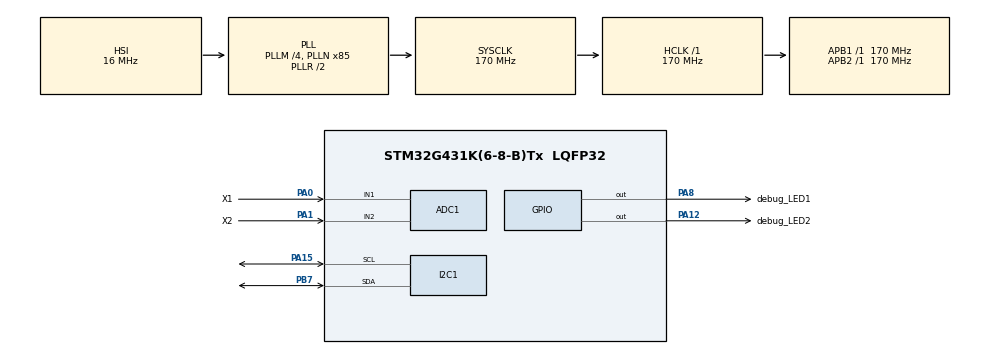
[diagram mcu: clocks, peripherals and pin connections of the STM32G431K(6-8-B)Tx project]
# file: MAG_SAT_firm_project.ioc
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ADC1.Channel-0\#ChannelRegularConversion=ADC_CHANNEL_1
ADC1.NbrOfConversionFlag=1
ADC1.OffsetNumber-0\#ChannelRegularConversion=ADC_OFFSET_NONE
ADC1.Rank-0\#ChannelRegularConversion=1
ADC1.SamplingTime-0\#ChannelRegularConversion=ADC_SAMPLETIME_2CYCLES_5
ADC1.SingleDiff-0\#ChannelRegularConversion=ADC_DIFFERENTIAL_ENDED
ADC1.master=1
I2C1.Timing=0x30A0A7FB
Mcu.Family=STM32G4
Mcu.Name=STM32G431K(6-8-B)Tx
Mcu.Package=LQFP32
NVIC.PriorityGroup=NVIC_PRIORITYGROUP_4
PA0.GPIO_Label=X1
PA0.Mode=IN1-Differential
PA0.Signal=ADC1_IN1
PA1.GPIO_Label=X2
PA1.Mode=IN1-Differential
PA1.Signal=ADC1_IN2
PA12.GPIO_Label=debug_LED2
PA12.Signal=GPIO_Output
PA13.Mode=Serial_Wire
PA13.Signal=SYS_JTMS-SWDIO
PA14.Mode=Serial_Wire
PA14.Signal=SYS_JTCK-SWCLK
PA15.Mode=I2C
PA15.Signal=I2C1_SCL
PA8.GPIO_Label=debug_LED1
PA8.Signal=GPIO_Output
PB3.Signal=SYS_JTDO-SWO
PB7.Mode=I2C
PB7.Signal=I2C1_SDA
ProjectManager.HeapSize=0x200
ProjectManager.StackSize=0x400
ProjectManager.TargetToolchain=STM32CubeIDE
RCC.ADC12Freq_Value=170000000
RCC.AHBFreq_Value=170000000
RCC.APB1Freq_Value=170000000
RCC.APB1TimFreq_Value=170000000
RCC.APB2Freq_Value=170000000
RCC.APB2TimFreq_Value=170000000
RCC.CortexFreq_Value=170000000
RCC.EXTERNAL_CLOCK_VALUE=12288000
RCC.HCLKFreq_Value=170000000
RCC.HSE_VALUE=8000000
RCC.HSI48_VALUE=48000000
RCC.HSI_VALUE=16000000
RCC.LSE_VALUE=32768
RCC.PLLM=RCC_PLLM_DIV4
RCC.PLLN=85
RCC.SYSCLKFreq_VALUE=170000000
RCC.SYSCLKSource=RCC_SYSCLKSOURCE_PLLCLK
RCC.USBFreq_Value=170000000
RCC.VCOOutputFreq_Value=340000000
VP_SYS_VS_DBSignals.Mode=DisableDeadBatterySignals
board=custom

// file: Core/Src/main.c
/* USER CODE BEGIN Header */
/**
  ******************************************************************************
  * @file           : main.c
  * @brief          : Main program body
  ******************************************************************************
  * @attention
  *
  * <h2><center>&copy; Copyright (c) 2026 STMicroelectronics.
  * All rights reserved.</center></h2>
  *
  * This software component is licensed by ST under BSD 3-Clause license,
  * the "License"; You may not use this file except in compliance with the
  * License. You may obtain a copy of the License at:
  *                        opensource.org/licenses/BSD-3-Clause
  *
  ******************************************************************************
  */
/* USER CODE END Header */
#include "main.h"

/* USER CODE BEGIN Includes */
#include <stdio.h>
#include <stdlib.h>

/* USER CODE END Includes */

ADC_HandleTypeDef hadc1;

I2C_HandleTypeDef hi2c1;

/* USER CODE BEGIN PV */

volatile uint32_t adc_value = 0;
volatile float voltage_difference = 0.0f;
volatile float current_amps = 0.0f;

const float V_REF = 3.3f;
uint8_t raw_current_bytes[2] = {0};
int16_t raw_current_value = 0;

/* USER CODE END PV */

void SystemClock_Config(void);
static void MX_GPIO_Init(void);
static void MX_ADC1_Init(void);
static void MX_I2C1_Init(void);

/* USER CODE BEGIN 0 */

// Redirect printf to the SWV/ITM hardware trace port
int __io_putchar(int ch)
{
    // This built-in CMSIS function automatically targets ITM Stimulus Port 0
    ITM_SendChar(ch);
    return ch;
}

/* USER CODE END 0 */

int main(void)
{

  /* USER CODE END 1 */

  /* MCU Configuration--------------------------------------------------------*/

  /* Reset of all peripherals, Initializes the Flash interface and the Systick. */
  HAL_Init();

  /* Configure the system clock */
  SystemClock_Config();

  /* Initialize all configured peripherals */
  MX_GPIO_Init();
  MX_ADC1_Init();
  MX_I2C1_Init();
  /* USER CODE BEGIN 2 */

  // Run automatic calibration for ADC1 in Differential Mode
   if (HAL_ADCEx_Calibration_Start(&hadc1, ADC_DIFFERENTIAL_ENDED) != HAL_OK)
   {
       /* Calibration Error Handling */
       Error_Handler();
   }

   //INA219 Programming calibration registers
 #define INA219_ADDR (0x40 << 1) //slave address
 #define REG_CAL  0x05
 #define REG_CURRENT   0x04

   uint8_t cal_data[2] = {0xA0, 0x00};
   HAL_I2C_Mem_Write(&hi2c1, INA219_ADDR, REG_CAL, I2C_MEMADD_SIZE_8BIT, cal_data, 2, 100);

   //Variables set up
//   uint32_t adc_value = 0;
//   float voltage_difference = 0.0f; //X1-X2(V)
//   const float V_REF = 3.3f; //Board reference voltage (3V3) (V)
//   float current_amps = 0.0f; //shunt current(A)
//   uint8_t raw_current_bytes[2] = {0};
//   int16_t raw_current_value = 0;

  /* USER CODE END 2 */

  /* Infinite loop */
  /* USER CODE BEGIN WHILE */
  while (1) //code doesn't wipe while in while loop
  {

	  //generates raw differitianal ADC values from TMR sensor
	  HAL_ADC_Start(&hadc1);

	      if (HAL_ADC_PollForConversion(&hadc1, 10) == HAL_OK) {
	          adc_value = HAL_ADC_GetValue(&hadc1);
	      }
	      HAL_ADC_Stop(&hadc1);

	      //Converting Raw ADC to Analog Voltage
	      voltage_difference =  ((float)adc_value - 2048.0f) / 2048.0f * V_REF;

	      //Using LED to determine polarity of the field

	      //  Read directly from the Current Register (0x04)
	      if (HAL_I2C_Mem_Read(&hi2c1, INA219_ADDR, REG_CURRENT, I2C_MEMADD_SIZE_8BIT, raw_current_bytes, 2, 100) == HAL_OK) {
	          raw_current_value = (int16_t)((raw_current_bytes[0] << 8) | raw_current_bytes[1]);

	          // Multiply by our chosen Current_LSB (0.0002f) to get real Amperes
	          current_amps = (float)raw_current_value * 0.0002f;
	      }

    // debugging LEDs testing code

//	  HAL_GPIO_TogglePin(GPIOA, GPIO_PIN_8); // Toggle Pin
//	  HAL_Delay(500); // Delay 500ms
//
//	  HAL_GPIO_TogglePin(GPIOA, GPIO_PIN_12); // Toggle Pin
//	  HAL_Delay(500); // Delay 500ms

	  /* Terminal Output via SWO Programmer */

//	      	HAL_Delay(10); // Delay 10ms
	    //  	printf("%d,%.4f,%.3f\r\n", HAL_GetTick(), voltage_difference, current_amps);

  }
}

void SystemClock_Config(void)
{
  RCC_OscInitTypeDef RCC_OscInitStruct = {0};
  RCC_ClkInitTypeDef RCC_ClkInitStruct = {0};
  RCC_PeriphCLKInitTypeDef PeriphClkInit = {0};

  /** Configure the main internal regulator output voltage
  */
  HAL_PWREx_ControlVoltageScaling(PWR_REGULATOR_VOLTAGE_SCALE1_BOOST);
  /** Initializes the RCC Oscillators according to the specified parameters
  * in the RCC_OscInitTypeDef structure.
  */
  RCC_OscInitStruct.OscillatorType = RCC_OSCILLATORTYPE_HSI;
  RCC_OscInitStruct.HSIState = RCC_HSI_ON;
  RCC_OscInitStruct.HSICalibrationValue = RCC_HSICALIBRATION_DEFAULT;
  RCC_OscInitStruct.PLL.PLLState = RCC_PLL_ON;
  RCC_OscInitStruct.PLL.PLLSource = RCC_PLLSOURCE_HSI;
  RCC_OscInitStruct.PLL.PLLM = RCC_PLLM_DIV4;
  RCC_OscInitStruct.PLL.PLLN = 85;
  RCC_OscInitStruct.PLL.PLLP = RCC_PLLP_DIV2;
  RCC_OscInitStruct.PLL.PLLQ = RCC_PLLQ_DIV2;
  RCC_OscInitStruct.PLL.PLLR = RCC_PLLR_DIV2;
  if (HAL_RCC_OscConfig(&RCC_OscInitStruct) != HAL_OK)
  {
    Error_Handler();
  }
  /** Initializes the CPU, AHB and APB buses clocks
  */
  RCC_ClkInitStruct.ClockType = RCC_CLOCKTYPE_HCLK|RCC_CLOCKTYPE_SYSCLK
                              |RCC_CLOCKTYPE_PCLK1|RCC_CLOCKTYPE_PCLK2;
  RCC_ClkInitStruct.SYSCLKSource = RCC_SYSCLKSOURCE_PLLCLK;
  RCC_ClkInitStruct.AHBCLKDivider = RCC_SYSCLK_DIV1;
  RCC_ClkInitStruct.APB1CLKDivider = RCC_HCLK_DIV1;
  RCC_ClkInitStruct.APB2CLKDivider = RCC_HCLK_DIV1;

  if (HAL_RCC_ClockConfig(&RCC_ClkInitStruct, FLASH_LATENCY_4) != HAL_OK)
  {
    Error_Handler();
  }
  /** Initializes the peripherals clocks
  */
  PeriphClkInit.PeriphClockSelection = RCC_PERIPHCLK_I2C1|RCC_PERIPHCLK_ADC12;
  PeriphClkInit.I2c1ClockSelection = RCC_I2C1CLKSOURCE_PCLK1;
  PeriphClkInit.Adc12ClockSelection = RCC_ADC12CLKSOURCE_SYSCLK;
  if (HAL_RCCEx_PeriphCLKConfig(&PeriphClkInit) != HAL_OK)
  {
    Error_Handler();
  }
}

static void MX_ADC1_Init(void)
{

  ADC_MultiModeTypeDef multimode = {0};
  ADC_ChannelConfTypeDef sConfig = {0};

  /** Common config
  */
  hadc1.Instance = ADC1;
  hadc1.Init.ClockPrescaler = ADC_CLOCK_SYNC_PCLK_DIV4;
  hadc1.Init.Resolution = ADC_RESOLUTION_12B;
  hadc1.Init.DataAlign = ADC_DATAALIGN_RIGHT;
  hadc1.Init.GainCompensation = 0;
  hadc1.Init.ScanConvMode = ADC_SCAN_DISABLE;
  hadc1.Init.EOCSelection = ADC_EOC_SINGLE_CONV;
  hadc1.Init.LowPowerAutoWait = DISABLE;
  hadc1.Init.ContinuousConvMode = DISABLE;
  hadc1.Init.NbrOfConversion = 1;
  hadc1.Init.DiscontinuousConvMode = DISABLE;
  hadc1.Init.ExternalTrigConv = ADC_SOFTWARE_START;
  hadc1.Init.ExternalTrigConvEdge = ADC_EXTERNALTRIGCONVEDGE_NONE;
  hadc1.Init.DMAContinuousRequests = DISABLE;
  hadc1.Init.Overrun = ADC_OVR_DATA_PRESERVED;
  hadc1.Init.OversamplingMode = DISABLE;
  if (HAL_ADC_Init(&hadc1) != HAL_OK)
  {
    Error_Handler();
  }
  /** Configure the ADC multi-mode
  */
  multimode.Mode = ADC_MODE_INDEPENDENT;
  if (HAL_ADCEx_MultiModeConfigChannel(&hadc1, &multimode) != HAL_OK)
  {
    Error_Handler();
  }
  /** Configure Regular Channel
  */
  sConfig.Channel = ADC_CHANNEL_1;
  sConfig.Rank = ADC_REGULAR_RANK_1;
  sConfig.SamplingTime = ADC_SAMPLETIME_47CYCLES_5;
  sConfig.SingleDiff = ADC_DIFFERENTIAL_ENDED;
  sConfig.OffsetNumber = ADC_OFFSET_NONE;
  sConfig.Offset = 0;
  if (HAL_ADC_ConfigChannel(&hadc1, &sConfig) != HAL_OK)
  {
    Error_Handler();
  }

}

static void MX_I2C1_Init(void)
{

  hi2c1.Instance = I2C1;
  hi2c1.Init.Timing = 0x30A0A7FB;
  hi2c1.Init.OwnAddress1 = 0;
  hi2c1.Init.AddressingMode = I2C_ADDRESSINGMODE_7BIT;
  hi2c1.Init.DualAddressMode = I2C_DUALADDRESS_DISABLE;
  hi2c1.Init.OwnAddress2 = 0;
  hi2c1.Init.OwnAddress2Masks = I2C_OA2_NOMASK;
  hi2c1.Init.GeneralCallMode = I2C_GENERALCALL_DISABLE;
  hi2c1.Init.NoStretchMode = I2C_NOSTRETCH_DISABLE;
  if (HAL_I2C_Init(&hi2c1) != HAL_OK)
  {
    Error_Handler();
  }
  /** Configure Analogue filter
  */
  if (HAL_I2CEx_ConfigAnalogFilter(&hi2c1, I2C_ANALOGFILTER_ENABLE) != HAL_OK)
  {
    Error_Handler();
  }
  /** Configure Digital filter
  */
  if (HAL_I2CEx_ConfigDigitalFilter(&hi2c1, 0) != HAL_OK)
  {
    Error_Handler();
  }

}

static void MX_GPIO_Init(void)
{
  GPIO_InitTypeDef GPIO_InitStruct = {0};

  /* GPIO Ports Clock Enable */
  __HAL_RCC_GPIOA_CLK_ENABLE();
  __HAL_RCC_GPIOB_CLK_ENABLE();

  /*Configure GPIO pin Output Level */
  HAL_GPIO_WritePin(GPIOA, debug_LED1_Pin|debug_LED2_Pin, GPIO_PIN_RESET);

  /*Configure GPIO pins : debug_LED1_Pin debug_LED2_Pin */
  GPIO_InitStruct.Pin = debug_LED1_Pin|debug_LED2_Pin;
  GPIO_InitStruct.Mode = GPIO_MODE_OUTPUT_PP;
  GPIO_InitStruct.Pull = GPIO_NOPULL;
  GPIO_InitStruct.Speed = GPIO_SPEED_FREQ_LOW;
  HAL_GPIO_Init(GPIOA, &GPIO_InitStruct);

}

void Error_Handler(void)
{
  __disable_irq();
  while (1)
  {
  }
}

/************************ (C) COPYRIGHT STMicroelectronics *****END OF FILE****/
